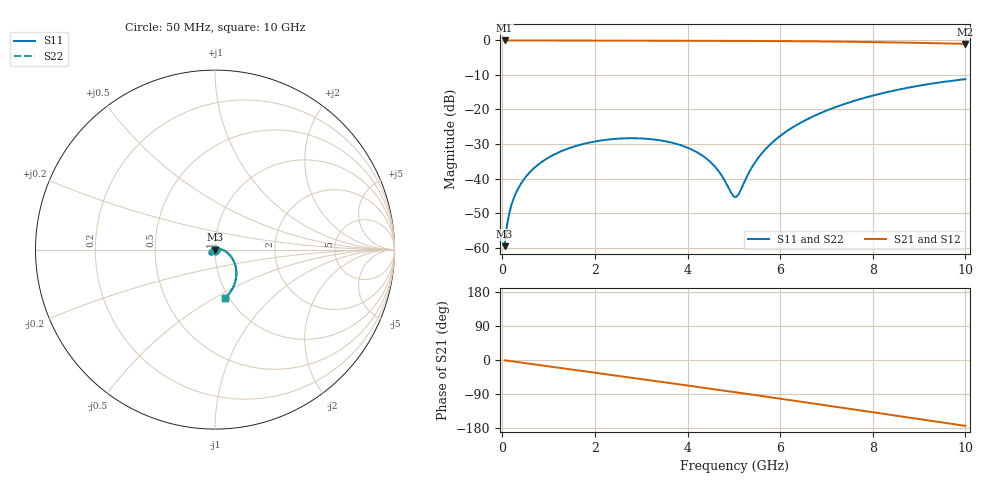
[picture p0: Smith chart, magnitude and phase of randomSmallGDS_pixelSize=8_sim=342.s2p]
! freq	dB(S11)	phase(S11)	dB(S12)	phase(S12)
!  dB(S21)	phase(S21)	dB(S22)	phase(S22)
!S-par simulation data
#  GHz  S  DB  R 50
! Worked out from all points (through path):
!   200 points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, 50 MHz to 10 GHz, reference 50 ohm
!   highest |S21| = 0.00 dB at 50 MHz (marker M1); lowest = -1.0 dB at 10 GHz (marker M2)
!   group delay of S21, straight-line fit = 48.3 ps
!   lowest |S11| = -59.6 dB at 50 MHz (marker M3), VSWR 1.00, Z = 50 - j0.105 ohm
!   |S11| at or under -10 dB: start of sweep to end of sweep
!   |S22| runs from -59.6 to -11.2 dB; largest |S21 - S12| = 0
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0.05  -59.59 -89.6  -0.00 -0.8  -0.00 -0.8  -59.59 -89.6
0.1  -53.57 -91.2  -0.00 -1.7  -0.00 -1.7  -53.57 -91.2
0.2  -47.55 -93.5  -0.00 -3.4  -0.00 -3.4  -47.55 -93.5
0.35  -42.71 -96.4  -0.00 -5.9  -0.00 -5.9  -42.71 -96.4
0.5  -39.65 -99.1  -0.01 -8.4  -0.01 -8.4  -39.65 -99.1
1  -33.93 -108.0  -0.02 -16.8  -0.02 -16.8  -33.93 -108.0
1.75  -29.99 -121.3  -0.04 -29.3  -0.04 -29.3  -29.99 -121.3
2.6  -28.38 -136.5  -0.05 -43.6  -0.05 -43.6  -28.38 -136.5
3.4  -28.92 -151.5  -0.07 -57.1  -0.07 -57.1  -28.92 -151.5
3.95  -30.81 -163.3  -0.09 -66.4  -0.09 -66.4  -30.81 -163.4
4.35  -33.64 -174.6  -0.10 -73.3  -0.10 -73.3  -33.64 -174.7
4.65  -37.49 171.3  -0.11 -78.5  -0.11 -78.5  -37.48 171.2
4.95  -44.32 127.8  -0.12 -83.6  -0.12 -83.6  -44.27 127.6
5.05  -45.35 91.8  -0.13 -85.4  -0.13 -85.4  -45.28 91.8
5.4  -36.53 23.0  -0.14 -91.5  -0.14 -91.5  -36.52 23.2
5.7  -31.26 7.8  -0.16 -96.7  -0.16 -96.7  -31.25 8.0
6.15  -26.22 -5.2  -0.20 -104.7  -0.20 -104.7  -26.21 -5.1
6.7  -22.07 -17.4  -0.26 -114.5  -0.26 -114.5  -22.07 -17.3
7.45  -18.13 -32.1  -0.36 -128.0  -0.36 -128.0  -18.13 -32.1
8.35  -14.84 -48.9  -0.54 -144.2  -0.54 -144.2  -14.84 -48.9
9.15  -12.76 -63.4  -0.74 -158.6  -0.74 -158.6  -12.76 -63.3
10  -11.22 -78.3  -0.98 -173.9  -0.98 -173.9  -11.22 -78.2
